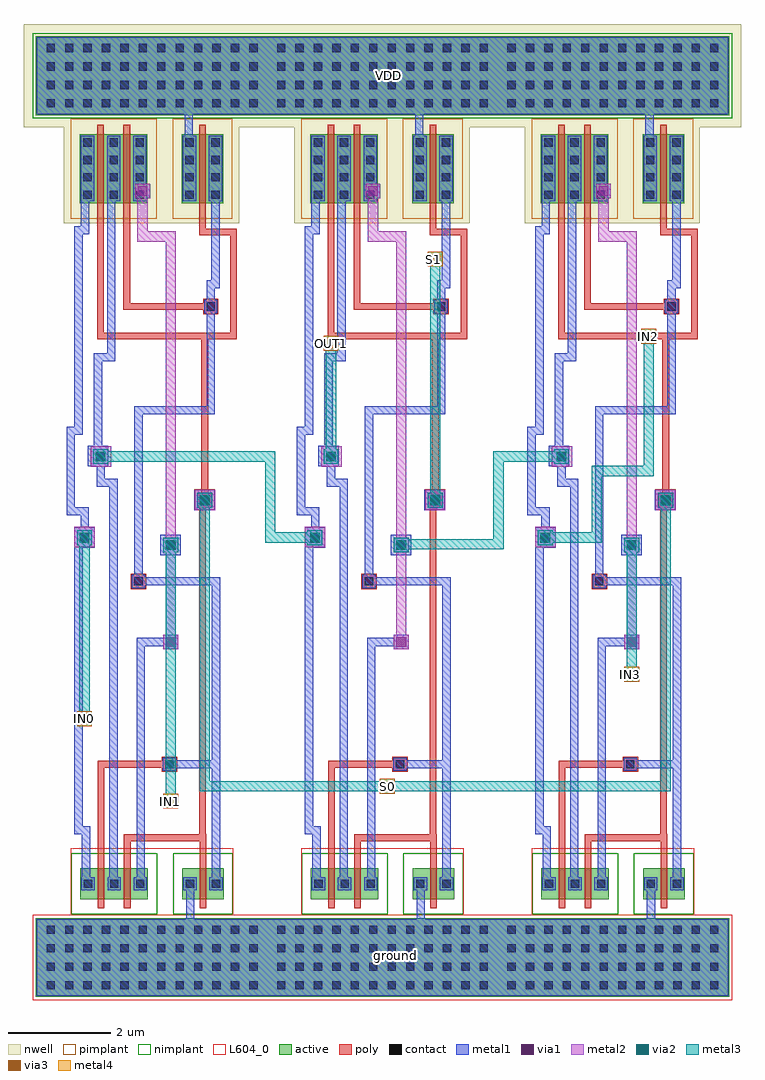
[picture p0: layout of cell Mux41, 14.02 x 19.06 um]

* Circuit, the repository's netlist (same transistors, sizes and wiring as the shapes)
* LVS netlist generated with ICnet by 'egrvlsi07' on Tue Apr  2 2019 at 18:20:38

*
* Globals.
*
.global ground VDD

*
* Component pathname : $VLSI/Project/Mux21
*
.subckt Mux21  Y A B S

        M6 Y N$46 A ground nmos l=0.13u w=0.6u m=1
        M3 Y S A VDD pmos l=0.13u w=1.35u m=1
        M5 Y S B ground nmos l=0.13u w=0.6u m=1
        M4 Y N$46 B VDD pmos l=0.13u w=1.35u m=1
        M2 N$46 S VDD VDD pmos l=0.13u w=1.35u m=1
        M1 N$46 S ground ground nmos l=0.13u w=0.6u m=1
.ends Mux21

*
* Component pathname : $VLSI/Project/Mux41
*
.subckt Mux41  OUT1 IN0 IN1 IN2 IN3 S0 S1

        X_MUX213 OUT1 N$2 N$4 S1 Mux21
        X_MUX212 N$4 IN2 IN3 S0 Mux21
        X_MUX211 N$2 IN0 IN1 S0 Mux21
.ends Mux41

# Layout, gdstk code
import gdstk
lib = gdstk.Library(unit=1e-6, precision=1e-09)
def R(c, l, rs):  # rectangles x0, y0, x1, y1
    for r in rs: c.add(gdstk.rectangle(r[:2], r[2:], *l))
def A(c, l, x, y, w, h, nx, ny, dx, dy):  # array of equal rectangles
    R(c, l, [(x+i*dx, y+j*dy, x+i*dx+w, y+j*dy+h) for i in range(nx) for j in range(ny)])
def P(c, l, *ps):  # polygons
    for p in ps: c.add(gdstk.Polygon(p, *l))
nwell = (3, 0)
active = (6, 0)
poly = (17, 0)
pimplant = (25, 0)
nimplant = (26, 0)
contact = (30, 0)
metal1 = (31, 0)
metal2 = (32, 0)
metal3 = (33, 0)
metal4 = (34, 0)
via1 = (51, 0)
via2 = (52, 0)
via3 = (53, 0)
L604_0 = (604, 0)

m2m3 = lib.new_cell('M2M3')
R(m2m3, metal2, [(-0.145,-0.145,0.145,0.145)])
R(m2m3, metal3, [(-0.145,-0.145,0.145,0.145)])
R(m2m3, via2, [(-0.095,-0.095,0.095,0.095)])

m1m2 = lib.new_cell('M1M2')
R(m1m2, metal1, [(-0.145,-0.145,0.145,0.145)])
R(m1m2, metal2, [(-0.145,-0.145,0.145,0.145)])
R(m1m2, via1, [(-0.095,-0.095,0.095,0.095)])

poly_m1 = lib.new_cell('POLY_M1')
R(poly_m1, poly, [(-0.15,-0.15,0.15,0.15)])
R(poly_m1, contact, [(-0.08,-0.08,0.08,0.08)])
R(poly_m1, metal1, [(-0.13,-0.13,0.13,0.13)])

mux21 = lib.new_cell('Mux21')
R(mux21, nwell, [(-1.815,108.335,1.605,110.465), (-2.605,110.205,2.415,112.225)])
R(mux21, active, [(-2.365,93.225,2.175,94.765), (-1.495,95.135,-0.175,95.735), (0.495,95.135,1.305,95.735), (-1.505,108.725,-0.185,110.075), (0.485,108.725,1.295,110.075), (-2.365,110.445,2.175,111.985)])
R(mux21, poly, [(-1.155,94.955,-1.025,95.135), (-0.645,94.955,-0.515,95.135), (0.835,94.955,0.965,95.135), (-1.155,95.135,-1.025,95.735), (-0.645,95.135,-0.515,95.735), (0.835,95.135,0.965,95.735), (-1.155,95.735,-1.025,95.915), (-0.645,95.735,-0.515,95.915), (0.835,95.735,0.965,95.915), (0.835,95.785,0.965,96.4), (0.825,96.27,0.965,96.4), (0.825,96.27,0.955,102.99), (0.87,102.86,1,106.2), (0.87,106.07,1.56,106.2), (-1.165,108.545,-1.035,108.725), (-0.655,108.545,-0.525,108.725), (0.825,108.545,0.955,108.725), (-1.165,108.725,-1.035,110.075), (-0.655,108.725,-0.525,110.075), (0.825,108.725,0.955,110.075), (-1.165,110.075,-1.035,110.255), (-0.655,110.075,-0.525,110.255), (0.825,110.075,0.955,110.255)])
P(mux21, poly, [(-1.155,95.785),(-1.025,95.785),(-1.025,97.705),(0.31,97.705),(0.31,97.835),(-1.155,97.835)],
  [(-0.655,106.645),(1.115,106.645),(1.115,106.775),(-0.525,106.775),(-0.525,108.675),(-0.655,108.675)],
  [(0.825,108.1),(1.43,108.1),(1.43,106.07),(1.56,106.07),(1.56,108.23),(0.955,108.23),(0.955,108.675),(0.825,108.675)],
  [(-0.645,95.785),(-0.515,95.785),(-0.515,96.27),(0.955,96.27),(0.955,96.4),(-0.645,96.4)],
  [(-1.165,106.07),(1,106.07),(1,106.2),(-1.035,106.2),(-1.035,108.675),(-1.165,108.675)])
R(mux21, pimplant, [(-2.425,93.165,2.235,94.825), (-1.685,108.425,-0.005,110.375), (0.305,108.425,1.475,110.375)])
R(mux21, nimplant, [(-1.675,94.835,0.005,96.035), (0.315,94.835,1.485,96.035), (-2.425,110.385,2.235,112.045)])
A(mux21, contact, -2.155, 93.375, 0.16, 0.16, 12, 4, 0.36, 0.36)
A(mux21, contact, -1.425, 95.355, 0.16, 0.16, 3, 1, 0.51, 0)
A(mux21, contact, -1.435, 108.81, 0.16, 0.16, 3, 4, 0.51, 0.34)
A(mux21, contact, 0.555, 108.81, 0.16, 0.16, 1, 4, 0, 0.34)
A(mux21, contact, 1.065, 108.81, 0.16, 0.16, 1, 4, 0, 0.34)
A(mux21, contact, -2.155, 110.595, 0.16, 0.16, 12, 4, 0.36, 0.36)
R(mux21, contact, [(0.565,95.355,0.725,95.515), (1.075,95.355,1.235,95.515)])
A(mux21, metal1, -1.475, 95.305, 0.26, 0.26, 3, 1, 0.51, 0)
A(mux21, metal1, -1.485, 108.76, 0.26, 1.28, 3, 1, 0.51, 0)
R(mux21, metal1, [(-2.345,93.245,2.155,94.745), (-2.345,93.245,2.155,94.745), (0.57,94.585,0.73,95.465), (0.515,95.305,0.775,95.565), (1.025,95.305,1.285,95.565), (1.075,95.405,1.235,97.85), (0.165,97.69,1.235,97.85), (0.065,101.85,0.465,102.25), (-1.61,102,-1.21,102.4), (0.725,102.73,1.125,103.13), (-1.35,103.585,-0.95,103.985), (0.505,108.76,0.765,110.04), (1.015,108.76,1.275,110.04), (-0.365,108.885,-0.2,109.045), (0.54,109.88,0.7,110.625), (-2.345,110.465,2.155,111.965), (-2.345,110.465,2.155,111.965)])
P(mux21, metal1, [(0.97,106.63),(1.13,106.63),(1.13,107.06),(1.225,107.06),(1.225,108.92),(1.065,108.92),(1.065,107.22),(0.97,107.22)],
  [(-0.44,101.26),(-0.28,101.26),(-0.28,104.605),(1.13,104.605),(1.13,106.79),(0.97,106.79),(0.97,104.765),(-0.44,104.765)],
  [(-1.18,103.185),(-0.93,103.185),(-0.93,95.405),(-0.77,95.405),(-0.77,103.345),(-1.02,103.345),(-1.02,103.86),(-1.18,103.86)],
  [(-1.23,103.825),(-1.07,103.825),(-1.07,105.635),(-0.815,105.635),(-0.815,108.92),(-0.975,108.92),(-0.975,105.795),(-1.23,105.795)],
  [(-0.44,101.26),(1.075,101.26),(1.075,97.69),(1.235,97.69),(1.235,101.42),(-0.44,101.42)],
  [(-1.61,96.4),(-1.465,96.4),(-1.465,95.405),(-1.305,95.405),(-1.305,96.56),(-1.45,96.56),(-1.45,102.16),(-1.61,102.16)],
  [(-1.765,102.63),(-1.49,102.63),(-1.49,102.24),(-1.33,102.24),(-1.33,102.79),(-1.605,102.79),(-1.605,104.2),(-1.45,104.2),(-1.45,108.115),(-1.325,108.115),(-1.325,108.92),(-1.485,108.92),(-1.485,108.275),(-1.61,108.275),(-1.61,104.36),(-1.765,104.36)],
  [(-0.395,95.405),(-0.235,95.405),(-0.235,100.075),(0.35,100.075),(0.35,100.235),(-0.395,100.235)])
R(mux21, metal2, [(-1.61,102.005,-1.21,102.405), (0.735,102.73,1.135,103.13), (-1.29,103.58,-0.89,103.98)])
P(mux21, metal2, [(-0.38,107.975),(0.17,107.975),(0.17,100.055),(0.37,100.055),(0.37,108.175),(-0.18,108.175),(-0.18,109.065),(-0.38,109.065)])
R(mux21, metal3, [(0.17,101.965,0.37,102.165), (-1.515,102.095,-1.315,102.295), (0.835,102.825,1.035,103.025), (-1.2,103.68,-1,103.88)])
R(mux21, L604_0, [(-2.425,93.165,2.235,94.825), (-1.685,94.745,1.495,96.125), (0.73,102.735,1.13,103.135)])
mux21.add(gdstk.Reference(m2m3, (0.935,102.925)))
mux21.add(gdstk.Reference(m1m2, (-1.415,102.19)))
mux21.add(gdstk.Reference(m1m2, (-1.1,103.78)))
mux21.add(gdstk.Reference(m2m3, (-1.1,103.78)))
mux21.add(gdstk.Reference(poly_m1, (-0.36,101.34)))
mux21.add(gdstk.Reference(m1m2, (0.27,100.155)))
mux21.add(gdstk.Reference(m2m3, (0.27,102.05)))
mux21.add(gdstk.Reference(poly_m1, (0.245,97.77)))
mux21.add(gdstk.Reference(poly_m1, (0.935,102.925)))
mux21.add(gdstk.Reference(m1m2, (0.935,102.925)))
mux21.add(gdstk.Reference(m1m2, (0.27,102.05)))
mux21.add(gdstk.Reference(m2m3, (0.27,102.05)))
mux21.add(gdstk.Reference(m1m2, (-0.28,108.965)))
mux21.add(gdstk.Reference(poly_m1, (1.05,106.71)))
mux21.add(gdstk.Reference(m2m3, (-1.415,102.19)))
mux21.add(gdstk.Label('/M6', (-1.09,95.435), layer=17, texttype=0))
mux21.add(gdstk.Label('/M5', (-0.58,95.435), layer=17, texttype=0))
mux21.add(gdstk.Label('/M1', (0.9,95.435), layer=17, texttype=0))
mux21.add(gdstk.Label('/M3', (-1.1,109.4), layer=17, texttype=0))
mux21.add(gdstk.Label('/M4', (-0.59,109.4), layer=17, texttype=0))
mux21.add(gdstk.Label('/M2', (0.89,109.4), layer=17, texttype=0))
mux21.add(gdstk.Label('Y', (-1.1,103.78), layer=133, texttype=0))
mux21.add(gdstk.Label('A', (-1.415,102.195), layer=133, texttype=0))
mux21.add(gdstk.Label('B', (0.27,102.065), layer=133, texttype=0))
mux21.add(gdstk.Label('S', (0.935,102.925), layer=133, texttype=0))
mux21.add(gdstk.Label('VDD', (-0.095,111.215), layer=131, texttype=0))
mux21.add(gdstk.Label('ground', (-0.095,93.995), layer=131, texttype=0))

m3m4 = lib.new_cell('M3M4')
R(m3m4, metal3, [(-0.145,-0.145,0.145,0.145)])
R(m3m4, metal4, [(-0.145,-0.145,0.145,0.145)])
R(m3m4, via3, [(-0.095,-0.095,0.095,0.095)])

mux41 = lib.new_cell('Mux41')
R(mux41, metal1, [(-1.465,120.885,12.035,122.385), (-1.465,138.105,12.035,139.605)])
R(mux41, metal3, [(1.05,124.59,1.25,129.805), (-0.635,126.2,-0.435,129.935), (10.05,127.065,10.25,129.805), (6.215,130.465,6.415,135.375), (4.18,131.32,4.38,133.73)])
P(mux41, metal3, [(-0.32,131.32),(2.995,131.32),(2.995,129.735),(4.065,129.735),(4.065,129.935),(3.195,129.935),(3.195,131.52),(-0.32,131.52)],
  [(1.715,124.88),(5.475,124.88),(5.475,125.08),(1.915,125.08),(1.915,130.665),(1.715,130.665)],
  [(5.275,124.88),(10.915,124.88),(10.915,130.665),(10.715,130.665),(10.715,125.08),(5.275,125.08)],
  [(8.365,129.735),(9.57,129.735),(9.57,131.035),(10.585,131.035),(10.585,133.865),(10.385,133.865),(10.385,131.235),(9.37,131.235),(9.37,129.935),(8.365,129.935)],
  [(5.55,129.605),(7.65,129.605),(7.65,131.32),(8.88,131.32),(8.88,131.52),(7.45,131.52),(7.45,129.805),(5.55,129.805)])
R(mux41, metal4, [(1.045,124.59,1.245,124.79), (5.275,124.88,5.475,125.08), (-0.635,126.2,-0.435,126.4), (10.025,127.065,10.225,127.265), (4.18,133.53,4.38,133.73), (10.385,133.665,10.585,133.865), (6.185,135.175,6.385,135.375)])
mux41.add(gdstk.Reference(mux21, (0.88,27.64)))
mux41.add(gdstk.Reference(mux21, (5.38,27.64)))
mux41.add(gdstk.Reference(mux21, (9.88,27.64)))
mux41.add(gdstk.Reference(m3m4, (-0.535,126.3)))
mux41.add(gdstk.Reference(m3m4, (1.15,124.69)))
mux41.add(gdstk.Reference(m3m4, (6.315,135.275)))
mux41.add(gdstk.Reference(m3m4, (5.375,124.98)))
mux41.add(gdstk.Reference(m3m4, (5.375,124.98)))
mux41.add(gdstk.Reference(m3m4, (10.15,127.165)))
mux41.add(gdstk.Reference(m3m4, (10.485,133.765)))
mux41.add(gdstk.Reference(m3m4, (4.28,133.63)))
mux41.add(gdstk.Label('ground', (5.53,121.675), layer=131, texttype=0))
mux41.add(gdstk.Label('VDD', (5.41,138.855), layer=131, texttype=0))
mux41.add(gdstk.Label('S0', (5.375,124.98), layer=134, texttype=0))
mux41.add(gdstk.Label('IN0', (-0.535,126.3), layer=134, texttype=0))
mux41.add(gdstk.Label('IN1', (1.145,124.69), layer=134, texttype=0))
mux41.add(gdstk.Label('IN2', (10.485,133.765), layer=134, texttype=0))
mux41.add(gdstk.Label('IN3', (10.125,127.165), layer=134, texttype=0))
mux41.add(gdstk.Label('S1', (6.285,135.275), layer=134, texttype=0))
mux41.add(gdstk.Label('OUT1', (4.28,133.63), layer=134, texttype=0))

lib.write_gds('Mux41.gds')
